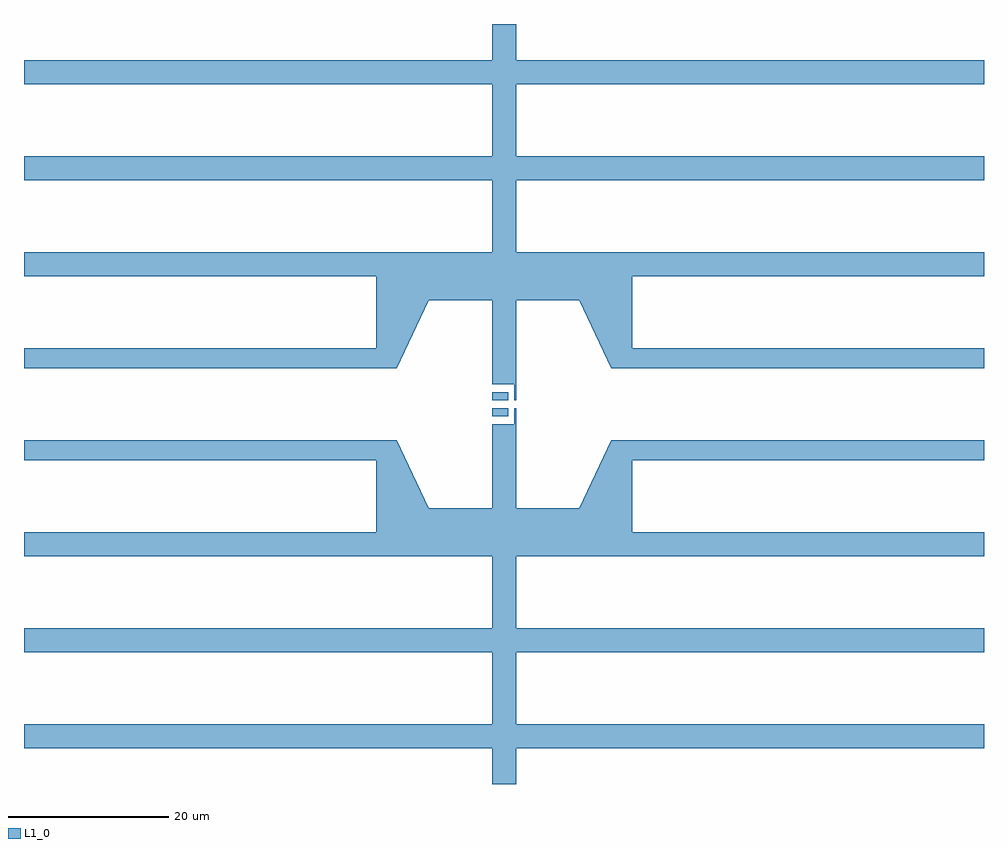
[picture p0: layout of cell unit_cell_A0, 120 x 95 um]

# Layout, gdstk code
from math import pi, radians
import gdstk
lib = gdstk.Library(unit=1e-6, precision=1e-09)
def R(c, l, rs):  # rectangles x0, y0, x1, y1
    for r in rs: c.add(gdstk.rectangle(r[:2], r[2:], *l))
def P(c, l, *ps):  # polygons
    for p in ps: c.add(gdstk.Polygon(p, *l))
L1_0 = (1, 0)

unnamed_795 = lib.new_cell('Unnamed_795')
P(unnamed_795, L1_0, [(58.5,0),(58.5,4.5),(0,4.5),(0,7.5),(58.5,7.5),(58.5,16.5),(0,16.5),(0,19.5),(58.5,19.5),(58.5,28.5),(0,28.5),(0,31.5),(44,31.5),(44,40.5),(0,40.5),(0,43),(46.597,43),(50.596,34.5),(58.5,34.5),(58.5,45),(60,45),(60,0)])

unnamed_796 = lib.new_cell('Unnamed_796')
unnamed_796.add(gdstk.Reference(unnamed_795, (0,0)))

rectangle_s2_1_lwg_cfal_ = lib.new_cell('rectangle_S2_1_LWG_CFal_a0a9c26d')
R(rectangle_s2_1_lwg_cfal_, L1_0, [(0,0,2,1)])

rectangle_s0p2_2_lwg_cf_ = lib.new_cell('rectangle_S0p2_2_LWG_CF_9ef6d549')
R(rectangle_s0p2_2_lwg_cf_, L1_0, [(0,0,0.2,2)])

unnamed_797 = lib.new_cell('Unnamed_797')
unnamed_797.add(gdstk.Reference(rectangle_s2_1_lwg_cfal_, (0,-1.5)))
unnamed_797.add(gdstk.Reference(rectangle_s0p2_2_lwg_cf_, (2.8,-2.5)))

unit_cell_a0 = lib.new_cell('unit_cell_A0')
unit_cell_a0.add(gdstk.Reference(unnamed_796, (0,0)))
unit_cell_a0.add(gdstk.Reference(unnamed_796, (120,0), rotation=pi, x_reflection=True))
unit_cell_a0.add(gdstk.Reference(unnamed_796, (0,95), x_reflection=True))
unit_cell_a0.add(gdstk.Reference(unnamed_796, (120,95), rotation=pi))
unit_cell_a0.add(gdstk.Reference(unnamed_797, (58.5,47.5)))
unit_cell_a0.add(gdstk.Reference(unnamed_797, (58.5,47.5), x_reflection=True))

lib.write_gds('unit_cell_A0.gds')
